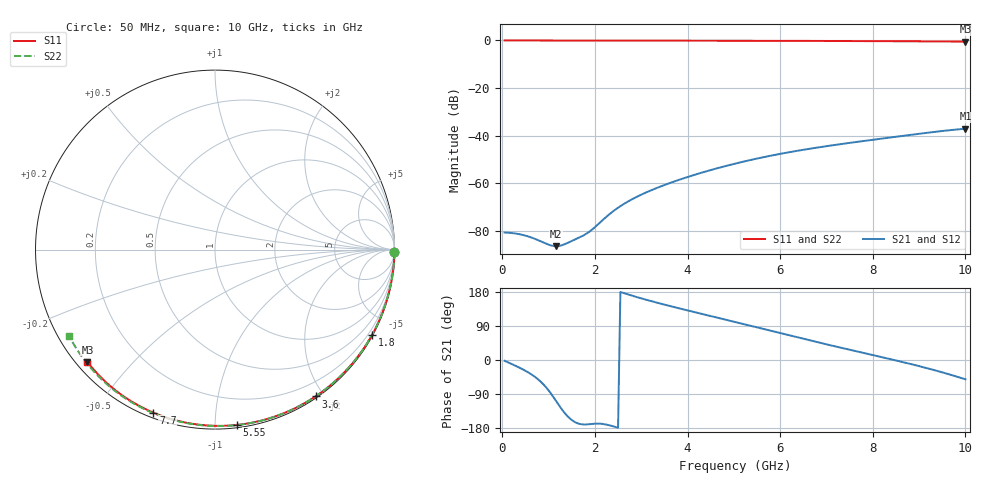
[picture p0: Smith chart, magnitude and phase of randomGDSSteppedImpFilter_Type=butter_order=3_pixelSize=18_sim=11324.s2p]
! freq	dB(S11)	phase(S11)	dB(S12)	phase(S12)
!  dB(S21)	phase(S21)	dB(S22)	phase(S22)
!S-par simulation data
#  GHz  S  DB  R 50
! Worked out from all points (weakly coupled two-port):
!   200 points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, 50 MHz to 10 GHz, reference 50 ohm
!   highest |S21| = -37.05 dB at 10 GHz (marker M1); lowest = -86.4 dB at 1.15 GHz (marker M2)
!   lowest |S11| = -0.5 dB at 10 GHz (marker M3), VSWR 36.52, Z = 1.56 - j18.8 ohm
!   |S11| at or under -10 dB: nowhere
!   |S22| runs from -0.5 to 0.0 dB; largest |S21 - S12| = 0
!   S11 on the Smith chart (normalised r, x): 50 MHz: open; 1.8 GHz: 0.03, -3.94; 3.6 GHz: 0.02, -1.90; 5.55 GHz: 0.02, -1.13; 7.7 GHz: 0.02, -0.69; 10 GHz: 0.03, -0.38
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0.05  -0.00 -0.8  -80.62 -2.1  -80.62 -2.1  -0.00 -0.9
0.6  -0.01 -9.6  -82.53 -35.7  -82.53 -35.7  -0.01 -10.4
1.15  -0.02 -18.3  -86.35 -106.1  -86.35 -106.1  -0.02 -19.8
1.75  -0.04 -27.7  -81.88 -170.1  -81.88 -170.1  -0.04 -29.9
1.8  -0.04 -28.5  -81.31 -170.2  -81.31 -170.2  -0.04 -30.7
1.9  -0.04 -30.0  -79.99 -169.2  -79.99 -169.2  -0.04 -32.4
2.35  -0.05 -36.9  -72.36 -173.5  -72.36 -173.5  -0.05 -39.8
2.5  -0.05 -39.2  -70.20 -178.8  -70.20 -178.8  -0.05 -42.3
2.65  -0.05 -41.5  -68.33 175.5  -68.33 175.5  -0.06 -44.7
3  -0.06 -46.7  -64.74 162.7  -64.74 162.7  -0.07 -50.4
3.4  -0.07 -52.6  -61.43 149.3  -61.43 149.3  -0.08 -56.7
3.6  -0.07 -55.6  -59.97 143.0  -59.97 143.0  -0.08 -59.9
4.3  -0.09 -65.7  -55.52 121.9  -55.52 121.9  -0.10 -70.7
5.05  -0.12 -76.1  -51.59 99.5  -51.59 99.5  -0.13 -81.8
5.55  -0.14 -82.9  -49.37 84.4  -49.37 84.4  -0.15 -89.1
6.1  -0.16 -90.2  -47.25 67.8  -47.25 67.8  -0.17 -96.9
6.7  -0.19 -98.0  -45.26 50.0  -45.26 50.0  -0.21 -105.3
7.2  -0.22 -104.4  -43.81 35.6  -43.81 35.6  -0.24 -112.1
7.7  -0.25 -110.7  -42.47 21.5  -42.47 21.5  -0.27 -118.8
8.35  -0.30 -118.8  -40.80 3.2  -40.80 3.2  -0.33 -127.5
9.2  -0.38 -129.1  -38.69 -22.5  -38.69 -22.5  -0.41 -138.7
10  -0.48 -138.7  -37.05 -50.9  -37.05 -50.9  -0.50 -149.3
